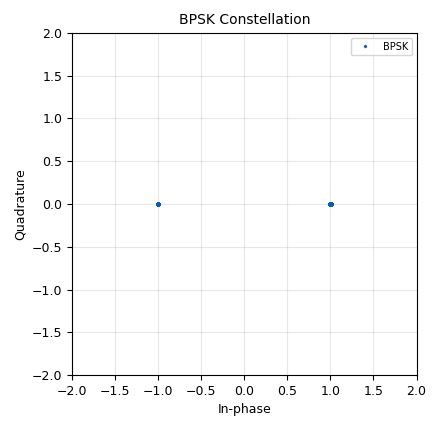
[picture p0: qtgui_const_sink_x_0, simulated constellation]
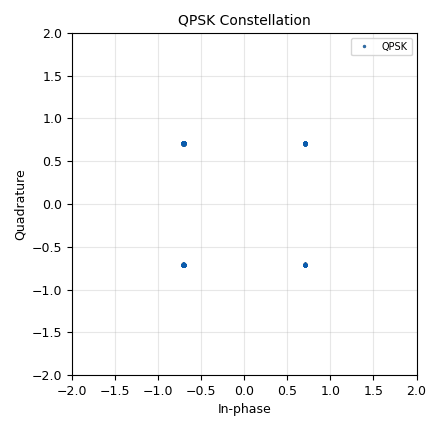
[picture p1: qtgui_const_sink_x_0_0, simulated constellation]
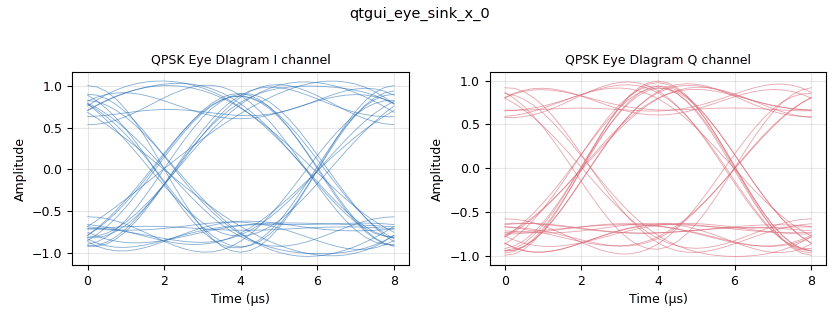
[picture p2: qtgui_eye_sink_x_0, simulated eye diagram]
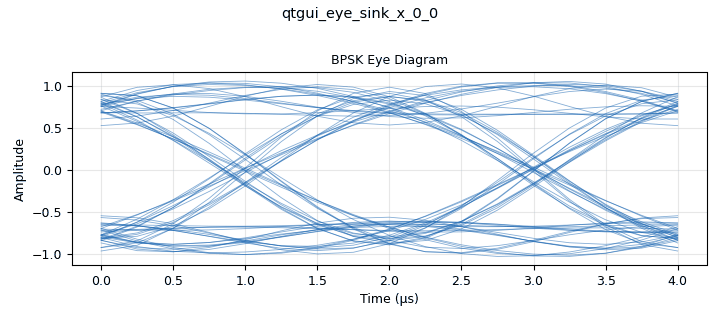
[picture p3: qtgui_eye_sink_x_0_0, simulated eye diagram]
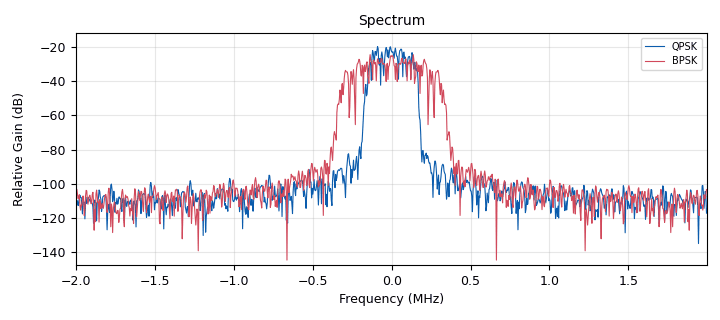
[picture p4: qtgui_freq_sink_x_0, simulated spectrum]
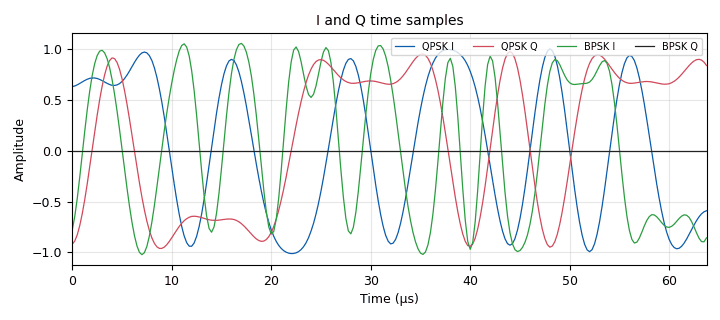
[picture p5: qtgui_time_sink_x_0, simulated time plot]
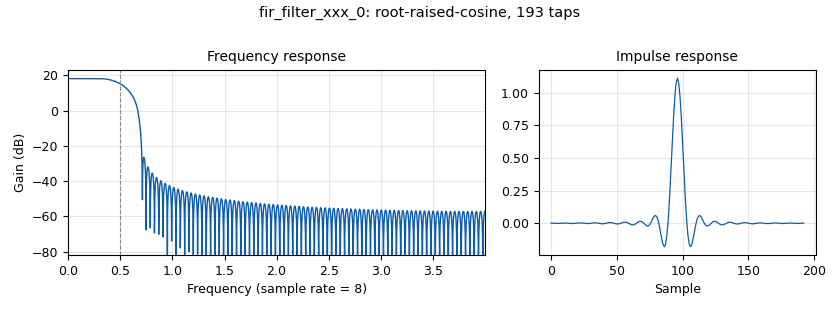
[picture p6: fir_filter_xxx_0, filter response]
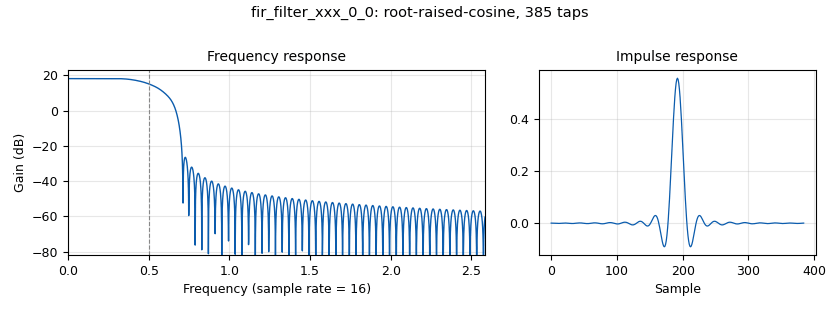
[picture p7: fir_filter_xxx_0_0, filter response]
options:
  parameters:
    generate_options: qt_gui
    id: ex_fig_5_6
    output_language: python
    title: Figure 5.6 BPSK–QPSK spectrum efﬁciency comparison
  states: {}

blocks:
- name: bit_rate
  id: variable
  parameters:
    value: 500e3
  states: {}
- name: freq
  id: variable
  parameters:
    value: 850e6+1000
  states: {}
- name: my_const_bpsk
  id: variable_constellation
  parameters:
    precision: '8'
    type: bpsk
  states: {}
- name: my_const_qpsk
  id: variable_constellation
  parameters:
    precision: '8'
    type: qpsk
  states: {}
- name: nfilts
  id: variable
  parameters:
    value: '8'
  states: {}
- name: noise_pwr
  id: variable_qtgui_range
  parameters:
    gui_hint: 4,1,1,1
    start: '0'
    step: numpy.sqrt(0.0025)
    stop: numpy.sqrt(1.0)
    value: '0'
  states: {}
- name: rrc_taps_tr
  id: variable
  parameters:
    value: firdes.root_raised_cosine(nfilts, sps, 1.0,  0.4, 3*sps*nfilts)
  states: {}
- name: rrc_taps_tr_qpsk
  id: variable
  parameters:
    value: firdes.root_raised_cosine(nfilts, sps*digital.constellation_qpsk().bits_per_symbol(), 1.0,  0.4, 3*sps*digital.constellation_qpsk().bits_per_symbol()*nfilts)
  states: {}
- name: samp_rate
  id: variable
  parameters:
    value: sps*symb_rate_bpsk
  states: {}
- name: sps
  id: variable
  parameters:
    value: '8'
  states: {}
- name: symb_rate_bpsk
  id: variable
  parameters:
    value: bit_rate
  states: {}
- name: symb_rate_qpsk
  id: variable
  parameters:
    value: bit_rate/2
  states: {state: disabled}
- name: analog_noise_source_x_0
  id: analog_noise_source_x
  parameters:
    amp: noise_pwr
    noise_type: analog.GR_GAUSSIAN
    seed: '0'
    type: complex
  states: {}
- name: analog_random_source_x_0
  id: analog_random_source_x
  parameters:
    max: '255'
    min: '0'
    num_samps: '10000'
    repeat: 'True'
    type: byte
  states: {}
- name: blocks_add_xx_0
  id: blocks_add_xx
  parameters:
    type: complex
  states: {}
- name: blocks_add_xx_1
  id: blocks_add_xx
  parameters:
    type: complex
  states: {}
- name: blocks_complex_to_float_0
  id: blocks_complex_to_float
  parameters: {}
  states: {}
- name: blocks_multiply_const_vxx_0
  id: blocks_multiply_const_vxx
  parameters:
    const: '1'
    type: complex
  states: {}
- name: blocks_multiply_const_vxx_0_0
  id: blocks_multiply_const_vxx
  parameters:
    const: '0.707'
    type: complex
  states: {}
- name: blocks_multiply_const_vxx_0_1
  id: blocks_multiply_const_vxx
  parameters:
    const: 1/(0.707*8)
    type: complex
  states: {}
- name: blocks_multiply_const_vxx_0_1_0
  id: blocks_multiply_const_vxx
  parameters:
    const: '0.125'
    type: complex
  states: {}
- name: blocks_null_sink_1
  id: blocks_null_sink
  parameters:
    type: float
  states: {}
- name: blocks_packed_to_unpacked_xx_0
  id: blocks_packed_to_unpacked_xx
  parameters:
    bits_per_chunk: digital.constellation_bpsk().bits_per_symbol()
    endianness: gr.GR_MSB_FIRST
    type: byte
  states: {}
- name: blocks_packed_to_unpacked_xx_0_0
  id: blocks_packed_to_unpacked_xx
  parameters:
    bits_per_chunk: digital.constellation_qpsk().bits_per_symbol()
    endianness: gr.GR_MSB_FIRST
    type: byte
  states: {}
- name: blocks_throttle_1
  id: blocks_throttle
  parameters:
    samples_per_second: samp_rate
    type: complex
  states: {}
- name: digital_chunks_to_symbols_xx_0
  id: digital_chunks_to_symbols_xx
  parameters:
    dimension: '1'
    in_type: byte
    out_type: complex
    symbol_table: digital.constellation_bpsk().points()
  states: {}
- name: digital_chunks_to_symbols_xx_0_0
  id: digital_chunks_to_symbols_xx
  parameters:
    dimension: '1'
    in_type: byte
    out_type: complex
    symbol_table: digital.constellation_qpsk().points()
  states: {}
- name: digital_constellation_modulator_0
  id: digital_constellation_modulator
  parameters:
    constellation: my_const_qpsk
    differential: 'False'
    excess_bw: '0.4'
    samples_per_symbol: int(sps*digital.constellation_qpsk().bits_per_symbol())
  states: {state: disabled}
- name: digital_constellation_modulator_0_0
  id: digital_constellation_modulator
  parameters:
    constellation: my_const_bpsk
    differential: 'False'
    excess_bw: '0.4'
    samples_per_symbol: sps*digital.constellation_bpsk().bits_per_symbol()
  states: {state: disabled}
- name: digital_diff_encoder_bb_0
  id: digital_diff_encoder_bb
  parameters:
    coding: digital.DIFF_DIFFERENTIAL
    modulus: pow(2, digital.constellation_qpsk().bits_per_symbol())
  states: {state: disabled}
- name: digital_map_bb_0
  id: digital_map_bb
  parameters:
    map: digital.constellation_bpsk().pre_diff_code()
  states: {}
- name: digital_map_bb_0_0
  id: digital_map_bb
  parameters:
    map: digital.constellation_qpsk().pre_diff_code()
  states: {}
- name: epy_block_0
  id: epy_block
  parameters:
    _source_code: |
      """
      Embedded Python Blocks:

      Each time this file is saved, GRC will instantiate the first class it finds
      to get ports and parameters of your block. The arguments to __init__  will
      be the parameters. All of them are required to have default values!
      """

      import numpy as np
      from gnuradio import gr


      class blk(gr.sync_block):  # other base classes are basic_block, decim_block, interp_block
          """Embedded Python Block example - a simple multiply const"""

          def __init__(self, example_param=1.0):  # only default arguments here
              """arguments to this function show up as parameters in GRC"""
              gr.sync_block.__init__(
                  self,
                  name='Variance Calculation Python Block',   # will show up in GRC
                  in_sig=[np.complex64],
                  out_sig=[np.float32]
              )
              # if an attribute with the same name as a parameter is found,
              # a callback is registered (properties work, too).
              self.example_param = example_param

          def work(self, input_items, output_items):
              """example: multiply with constant"""
              output_items[0][:] = np.var(input_items[0])
              return len(output_items[0])
    example_param: '1.0'
  states: {}
- name: epy_block_0_0
  id: epy_block
  parameters:
    _source_code: |
      """
      Embedded Python Blocks:

      Each time this file is saved, GRC will instantiate the first class it finds
      to get ports and parameters of your block. The arguments to __init__  will
      be the parameters. All of them are required to have default values!
      """

      import numpy as np
      from gnuradio import gr


      class blk(gr.sync_block):  # other base classes are basic_block, decim_block, interp_block
          """Embedded Python Block example - a simple multiply const"""

          def __init__(self, example_param=1.0):  # only default arguments here
              """arguments to this function show up as parameters in GRC"""
              gr.sync_block.__init__(
                  self,
                  name='Variance Calculation Python Block',   # will show up in GRC
                  in_sig=[np.complex64],
                  out_sig=[np.float32]
              )
              # if an attribute with the same name as a parameter is found,
              # a callback is registered (properties work, too).
              self.example_param = example_param

          def work(self, input_items, output_items):
              """example: multiply with constant"""
              output_items[0][:] = 2.0*np.var(input_items[0])
              return len(output_items[0])
    example_param: '1.0'
  states: {}
- name: epy_block_0_1
  id: epy_block
  parameters:
    _source_code: |
      """
      Embedded Python Blocks:

      Each time this file is saved, GRC will instantiate the first class it finds
      to get ports and parameters of your block. The arguments to __init__  will
      be the parameters. All of them are required to have default values!
      """

      import numpy as np
      from gnuradio import gr


      class blk(gr.sync_block):  # other base classes are basic_block, decim_block, interp_block
          """Embedded Python Block example - a simple multiply const"""

          def __init__(self, example_param=1.0):  # only default arguments here
              """arguments to this function show up as parameters in GRC"""
              gr.sync_block.__init__(
                  self,
                  name='Variance Calculation Python Block',   # will show up in GRC
                  in_sig=[np.complex64],
                  out_sig=[np.float32]
              )
              # if an attribute with the same name as a parameter is found,
              # a callback is registered (properties work, too).
              self.example_param = example_param

          def work(self, input_items, output_items):
              """example: multiply with constant"""
              output_items[0][:] = np.var(input_items[0])
              return len(output_items[0])
    example_param: '1.0'
  states: {}
- name: fir_filter_xxx_0
  id: fir_filter_xxx
  parameters:
    decim: '8'
    taps: rrc_taps_tr
    type: ccc
  states: {}
- name: fir_filter_xxx_0_0
  id: fir_filter_xxx
  parameters:
    decim: sps*digital.constellation_qpsk().bits_per_symbol()
    taps: rrc_taps_tr_qpsk
    type: ccc
  states: {}
- name: pfb_arb_resampler_xxx_0
  id: pfb_arb_resampler_xxx
  parameters:
    atten: '100'
    nfilts: nfilts
    rrate: sps
    taps: rrc_taps_tr
    type: ccf
  states: {}
- name: pfb_arb_resampler_xxx_0_0
  id: pfb_arb_resampler_xxx
  parameters:
    atten: '100'
    nfilts: nfilts*2
    rrate: sps*digital.constellation_qpsk().bits_per_symbol()
    taps: rrc_taps_tr_qpsk
    type: ccf
  states: {}
- name: qtgui_const_sink_x_0
  id: qtgui_const_sink_x
  parameters:
    gui_hint: 3,2,1,1
    label1: BPSK
    name: '"BPSK Constellation"'
    size: '1024'
    type: complex
  states: {}
- name: qtgui_const_sink_x_0_0
  id: qtgui_const_sink_x
  parameters:
    gui_hint: 3,0,1,1
    label1: QPSK
    name: '"QPSK Constellation"'
    size: '1024'
    type: complex
  states: {}
- name: qtgui_eye_sink_x_0
  id: qtgui_eye_sink_x
  parameters:
    autoscale: 'True'
    grid: 'True'
    gui_hint: 2,0,1,2
    label1: QPSK Eye DIagram I channel
    label2: QPSK Eye DIagram Q channel
    samp_per_symbol: sps*digital.constellation_qpsk().bits_per_symbol()
    size: '1024'
    srate: samp_rate
    type: complex
  states: {}
- name: qtgui_eye_sink_x_0_0
  id: qtgui_eye_sink_x
  parameters:
    autoscale: 'True'
    grid: 'True'
    gui_hint: 2,2,1,1
    label1: BPSK Eye Diagram
    samp_per_symbol: sps*digital.constellation_bpsk().bits_per_symbol()
    size: '1024'
    srate: samp_rate
    type: float
  states: {}
- name: qtgui_freq_sink_x_0
  id: qtgui_freq_sink_x
  parameters:
    autoscale: 'True'
    bw: samp_rate
    fc: '0'
    fftsize: '1024'
    grid: 'True'
    gui_hint: 0,2,1,1
    label1: QPSK
    label2: BPSK
    name: '"Spectrum"'
    nconnections: '2'
    type: complex
  states: {}
- name: qtgui_number_sink_0
  id: qtgui_number_sink
  parameters:
    graph_type: qtgui.NUM_GRAPH_NONE
    gui_hint: 1,0,1,1
    name: '"Average power QPSK"'
    type: float
  states: {}
- name: qtgui_number_sink_0_0
  id: qtgui_number_sink
  parameters:
    graph_type: qtgui.NUM_GRAPH_NONE
    gui_hint: 1,2,1,1
    name: '"Average power BPSK"'
    type: float
  states: {}
- name: qtgui_number_sink_0_1
  id: qtgui_number_sink
  parameters:
    factor1: '2'
    graph_type: qtgui.NUM_GRAPH_VERT
    gui_hint: 3,1,1,1
    min: '0'
    name: '"Noise power"'
    type: float
  states: {}
- name: qtgui_time_sink_x_0
  id: qtgui_time_sink_x
  parameters:
    autoscale: 'True'
    grid: 'True'
    gui_hint: 0,0,1,2
    label1: QPSK I
    label2: QPSK Q
    label3: BPSK I
    label4: BPSK Q
    name: '"I and Q time samples"'
    nconnections: '2'
    size: '256'
    srate: samp_rate
    type: complex
  states: {}

connections:
- [analog_noise_source_x_0, '0', blocks_add_xx_0, '1']
- [analog_noise_source_x_0, '0', blocks_add_xx_1, '0']
- [analog_noise_source_x_0, '0', epy_block_0_1, '0']
- [analog_random_source_x_0, '0', blocks_packed_to_unpacked_xx_0, '0']
- [analog_random_source_x_0, '0', blocks_packed_to_unpacked_xx_0_0, '0']
- [analog_random_source_x_0, '0', digital_constellation_modulator_0, '0']
- [analog_random_source_x_0, '0', digital_constellation_modulator_0_0, '0']
- [blocks_add_xx_0, '0', fir_filter_xxx_0_0, '0']
- [blocks_add_xx_0, '0', qtgui_eye_sink_x_0, '0']
- [blocks_add_xx_0, '0', qtgui_freq_sink_x_0, '0']
- [blocks_add_xx_0, '0', qtgui_time_sink_x_0, '0']
- [blocks_add_xx_1, '0', blocks_complex_to_float_0, '0']
- [blocks_add_xx_1, '0', fir_filter_xxx_0, '0']
- [blocks_add_xx_1, '0', qtgui_freq_sink_x_0, '1']
- [blocks_add_xx_1, '0', qtgui_time_sink_x_0, '1']
- [blocks_complex_to_float_0, '0', qtgui_eye_sink_x_0_0, '0']
- [blocks_complex_to_float_0, '1', blocks_null_sink_1, '0']
- [blocks_multiply_const_vxx_0, '0', blocks_add_xx_0, '0']
- [blocks_multiply_const_vxx_0, '0', epy_block_0, '0']
- [blocks_multiply_const_vxx_0_0, '0', blocks_add_xx_1, '1']
- [blocks_multiply_const_vxx_0_0, '0', epy_block_0_0, '0']
- [blocks_multiply_const_vxx_0_1, '0', qtgui_const_sink_x_0, '0']
- [blocks_multiply_const_vxx_0_1_0, '0', qtgui_const_sink_x_0_0, '0']
- [blocks_packed_to_unpacked_xx_0, '0', digital_map_bb_0, '0']
- [blocks_packed_to_unpacked_xx_0_0, '0', digital_map_bb_0_0, '0']
- [blocks_throttle_1, '0', blocks_multiply_const_vxx_0, '0']
- [digital_chunks_to_symbols_xx_0, '0', pfb_arb_resampler_xxx_0, '0']
- [digital_chunks_to_symbols_xx_0_0, '0', pfb_arb_resampler_xxx_0_0, '0']
- [digital_constellation_modulator_0, '0', blocks_throttle_1, '0']
- [digital_constellation_modulator_0_0, '0', blocks_multiply_const_vxx_0_0, '0']
- [digital_diff_encoder_bb_0, '0', digital_chunks_to_symbols_xx_0_0, '0']
- [digital_map_bb_0, '0', digital_chunks_to_symbols_xx_0, '0']
- [digital_map_bb_0_0, '0', digital_chunks_to_symbols_xx_0_0, '0']
- [digital_map_bb_0_0, '0', digital_diff_encoder_bb_0, '0']
- [epy_block_0, '0', qtgui_number_sink_0, '0']
- [epy_block_0_0, '0', qtgui_number_sink_0_0, '0']
- [epy_block_0_1, '0', qtgui_number_sink_0_1, '0']
- [fir_filter_xxx_0, '0', blocks_multiply_const_vxx_0_1, '0']
- [fir_filter_xxx_0_0, '0', blocks_multiply_const_vxx_0_1_0, '0']
- [pfb_arb_resampler_xxx_0, '0', blocks_multiply_const_vxx_0_0, '0']
- [pfb_arb_resampler_xxx_0_0, '0', blocks_throttle_1, '0']

metadata:
  file_format: 1
  grc_version: 3.10.9.2
